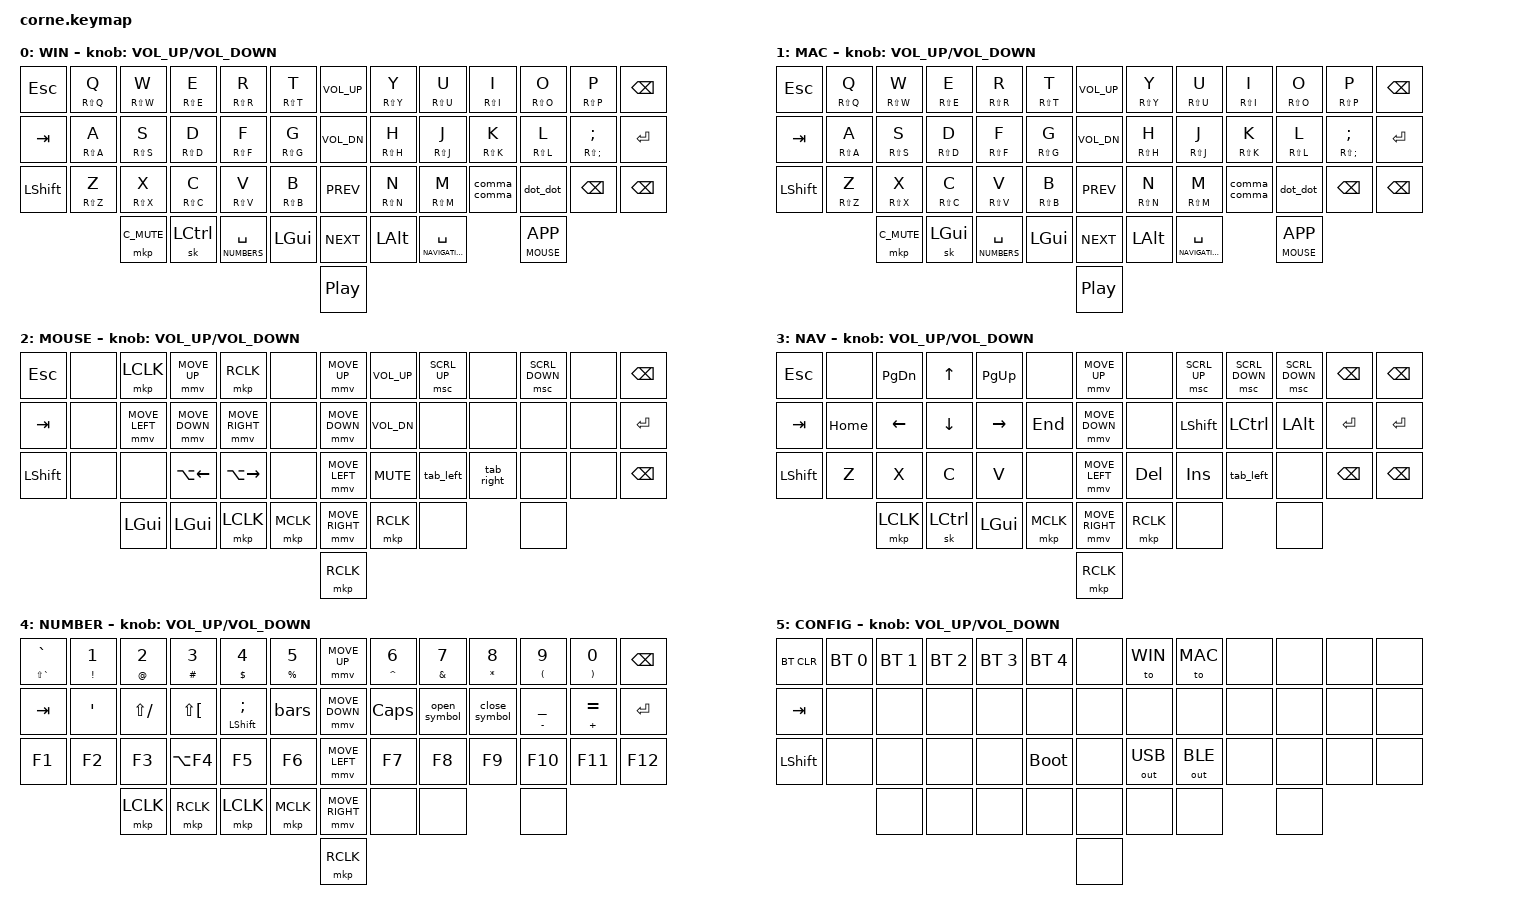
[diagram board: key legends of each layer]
#include <behaviors/mouse_keys.dtsi>
#include <behaviors.dtsi>
#include <dt-bindings/zmk/bt.h>
#include <dt-bindings/zmk/keys.h>
#include <dt-bindings/zmk/mouse.h>
#include <dt-bindings/zmk/outputs.h>

#define ZMK_MOUSE_DEFAULT_MOVE_VAL 1200
#define ZMK_MOUSE_DEFAULT_SCRL_VAL 20

#define WIN 0
#define MAC 1
#define MOUSE 2
#define NAVIGATION 3
#define NUMBERS 4
#define CONFIG 5

&mmv {
	time-to-max-speed-ms = <500>;
};

&mt {
	tapping-term-ms = <300>;
	flavor = "tap-preferred";
};

/ {
    combos {
        compatible = "zmk,combos";
        combo_config {
            timeout-ms = <50>;
            key-positions = <14 15 16 17>; // A, S, D, F positions
            bindings = <&mo CONFIG>;
            layers = <WIN MAC>;
        };
    };

    behaviors {
        mmv {
            acceleration-exponent = <1>;
            time-to-max-speed-ms = <900>;
            delay-ms = <0>;
        };

        msc {
            acceleration-exponent = <1>;
            time-to-max-speed-ms = <400>;
            delay-ms = <0>;
        };

        open_symbol: td_open {
            compatible = "zmk,behavior-tap-dance";
            label = "TD_OPEN";
            #binding-cells = <0>;
            tapping-term-ms = <200>;
            bindings = <&kp RS(RIGHT_BRACKET)>, <&kp RS(NUMBER_9)>, <&kp RIGHT_BRACKET>, <&kp LT>;
        };

        close_symbol: td_close {
            compatible = "zmk,behavior-tap-dance";
            label = "TD_CLOSE";
            #binding-cells = <0>;
            tapping-term-ms = <200>;
            bindings = <&kp RS(BACKSLASH)>, <&kp RS(NUMBER_0)>, <&kp BACKSLASH>, <&kp GT>;
        };

        dot_dot: dot_dot {
            compatible = "zmk,behavior-tap-dance";
            label = "DOT_DOT";
            #binding-cells = <0>;
            tapping-term-ms = <200>;
            bindings = <&kp PERIOD>, <&kp LS(SLASH)>;
        };

        comma_comma: comma_comma {
            compatible = "zmk,behavior-tap-dance";
            label = "COMMA_COMMA";
            #binding-cells = <0>;
            tapping-term-ms = <200>;
            bindings = <&kp COMMA>, <&kp SLASH>;
        };

        bars: bars {
            compatible = "zmk,behavior-tap-dance";
            label = "BARS";
            #binding-cells = <0>;
            tapping-term-ms = <200>;
            bindings = <&kp KP_SLASH>, <&kp LS(NON_US_BSLH)>, <&kp NON_US_BACKSLASH>;
        };

        // Conditional behavior for tab navigation
        tab_left: tab_left {
            compatible = "zmk,behavior-mod-morph";
            label = "TAB_LEFT";
            #binding-cells = <0>;
            bindings = <&kp LC(PAGE_UP)>, <&kp LG(LA(LEFT))>;
            mods = <(MOD_LGUI)>;
        };

        tab_right: tab_right {
            compatible = "zmk,behavior-mod-morph";
            label = "TAB_RIGHT";
            #binding-cells = <0>;
            bindings = <&kp LC(PAGE_DOWN)>, <&kp LG(LA(RIGHT))>;
            mods = <(MOD_LGUI)>;
        };
    };

    scroll_encoder: scroll_encoder {
        compatible = "zmk,behavior-sensor-rotate";
        #sensor-binding-cells = <0>;
        bindings = <&msc SCRL_DOWN>, <&msc SCRL_UP>;
        tap-ms = <30>;
    };

    keymap {
        compatible = "zmk,keymap";

        win_layer {
            display-name = "WIN";

            /* WIN
               QWERTY layout with mod-tap for uppercase letters
               ╭─────────────────────────────────────────╮    ╭──────╮╭─────────────────────────────────────────╮
               | ESC  |  Q   |  W   |  E   |   R  |   T  |    |VOL UP||  Y   |  U   |  I   |  O   |  P   | BKSP |
               | TAB  |  A   |  S   |  D   |   F  |   G  |    |VOL DN||  H   |  J   |  K   |  L   |  ;   | ENT  |
               |SHIFT |  Z   |  X   |  C   |   V  |   B  |    |PREV  ||  N   |  M   |  ,/  |  .?  | BKSP | BKSP |
               ╰────────────────────╮ MUTE |LCTRL | NUM  |    |NEXT  || LALT | NAV  | MENU ╭────────────────────╯
                                    ╰────────────────────╯    |PLAY  |╰────────────────────╯
                                                              ╰──────╯
            */
            bindings = <
                &kp ESC             &mt RS(Q) Q         &mt RS(W) W           &mt RS(E) E        &mt RS(R) R        &mt RS(T) T          &kp C_VOL_UP                &mt RS(Y) Y             &mt RS(U) U     &mt RS(I) I         &mt RS(O) O         &mt RS(P) P         &kp BSPC
                &kp TAB             &mt RS(A) A         &mt RS(S) S           &mt RS(D) D        &mt RS(F) F        &mt RS(G) G          &kp C_VOL_DN                &mt RS(H) H             &mt RS(J) J     &mt RS(K) K         &mt RS(L) L         &mt RS(SEMI) SEMI   &kp RETURN
                &kp LSHIFT          &mt RS(Z) Z         &mt RS(X) X           &mt RS(C) C        &mt RS(V) V        &mt RS(B) B          &kp C_PREV                  &mt RS(N) N             &mt RS(M) M     &comma_comma        &dot_dot            &kp BSPC            &kp BSPC
                                                        &mkp C_MUTE           &sk LEFT_CONTROL   &lt NUMBERS SPACE  &kp LEFT_GUI         &kp C_NEXT                  &kp LALT                &lt NAVIGATION SPACE                &lt MOUSE K_APP
                                                                                                                                         &kp C_PP
            >;

            label = "WIN";
            sensor-bindings = <&inc_dec_kp C_VOLUME_UP C_VOLUME_DOWN>;
        };

        mac_layer {
            display-name = "MAC";

            /* MAC
               QWERTY layout with mod-tap for uppercase letters (Mac version)
               ╭─────────────────────────────────────────╮    ╭──────╮╭─────────────────────────────────────────╮
               | ESC  |  Q   |  W   |  E   |   R  |   T  |    |VOL UP||  Y   |  U   |  I   |  O   |  P   | BKSP |
               | TAB  |  A   |  S   |  D   |   F  |   G  |    |VOL DN||  H   |  J   |  K   |  L   |  ;   | ENT  |
               |SHIFT |  Z   |  X   |  C   |   V  |   B  |    |PREV  ||  N   |  M   |  ,/  |  .?  | BKSP | BKSP |
               ╰────────────────────╮ MUTE |LCMD  | NUM  |    |NEXT  || LALT | NAV  | MENU ╭────────────────────╯
                                    ╰────────────────────╯    |PLAY  |╰────────────────────╯
                                                              ╰──────╯
            */
            bindings = <
                &kp ESC             &mt RS(Q) Q         &mt RS(W) W           &mt RS(E) E        &mt RS(R) R        &mt RS(T) T          &kp C_VOL_UP                &mt RS(Y) Y             &mt RS(U) U     &mt RS(I) I         &mt RS(O) O         &mt RS(P) P         &kp BSPC
                &kp TAB             &mt RS(A) A         &mt RS(S) S           &mt RS(D) D        &mt RS(F) F        &mt RS(G) G          &kp C_VOL_DN                &mt RS(H) H             &mt RS(J) J     &mt RS(K) K         &mt RS(L) L         &mt RS(SEMI) SEMI   &kp RETURN
                &kp LSHIFT          &mt RS(Z) Z         &mt RS(X) X           &mt RS(C) C        &mt RS(V) V        &mt RS(B) B          &kp C_PREV                  &mt RS(N) N             &mt RS(M) M     &comma_comma        &dot_dot            &kp BSPC            &kp BSPC
                                                        &mkp C_MUTE           &sk LGUI           &lt NUMBERS SPACE  &kp LEFT_GUI         &kp C_NEXT                  &kp LALT                &lt NAVIGATION SPACE                &lt MOUSE K_APP
                                                                                                                                         &kp C_PP
            >;

            label = "MAC";
            sensor-bindings = <&inc_dec_kp C_VOLUME_UP C_VOLUME_DOWN>;
        };

        mouse_layer {
            display-name = "MOUSE";

           /* MOUSE
               Mouse movement and media controls
               ╭─────────────────────────────────────────╮    ╭──────╮╭─────────────────────────────────────────╮
               | ESC  |      |LCLK  | M_UP |RCLK  |      |    | M_UP ||VOL_UP|SCR_UP|      |SCR_DN|      | BKSP |
               | TAB  |      | M_L  | M_DN | M_R  |      |    | M_DN ||VOL_DN|      |      |      |      | ENT  |
               |SHIFT |      |      |AL_LFT|AL_RGT|      |    | M_L  || MUTE |TAB_LF|TAB_RT|      |      | BKSP |
               ╰────────────────────╮ GUI  | GUI  |LCLK  |    | M_R  ||RCLK  |      |      ╭────────────────────╯
                                    ╰────────────────────╯    |RCLK  |╰────────────────────╯
                                                              ╰──────╯
            */
            bindings = <
                &kp ESC             &none               &mkp LCLK             &mmv MOVE_UP        &mkp RCLK          &none                &mmv MOVE_UP                 &kp C_VOL_UP            &msc SCRL_UP         &none                     &msc SCRL_DOWN           &none            &kp BSPC
                &kp TAB             &none               &mmv MOVE_LEFT        &mmv MOVE_DOWN      &mmv MOVE_RIGHT    &none                &mmv MOVE_DOWN               &kp C_VOL_DN            &none                &none                     &none                    &none            &kp RETURN
                &kp LSHIFT          &none               &none                 &kp LA(LEFT)        &kp LA(RIGHT)      &none                &mmv MOVE_LEFT               &kp C_MUTE              &tab_left            &tab_right                &none                    &none            &kp BSPC
                                                        &kp LEFT_GUI          &kp LEFT_GUI        &mkp LCLK          &mkp MCLK            &mmv MOVE_RIGHT              &mkp RCLK               &none                &none
                                                                                                                                          &mkp RCLK
            >;

            label = "MOUSE";
            sensor-bindings = <&inc_dec_kp C_VOLUME_UP C_VOLUME_DOWN>;
        };

        navigation_layer {
            display-name = "NAV";

           /* NAVIGATION
               Arrow keys, page navigation, and basic editing
               ╭─────────────────────────────────────────╮    ╭──────╮╭─────────────────────────────────────────╮
               | ESC  |      |PGDN  |  UP  |PGUP  |      |    | M_UP ||      |SCR_UP|SCR_DN|SCR_DN| BKSP | BKSP |
               | TAB  | HOME | LEFT | DOWN |RIGHT | END  |    | M_DN ||      |SHIFT |CTRL  |  ALT | ENT  | ENT  |
               |SHIFT |  Z   |  X   |  C   |  V   |      |    | M_L  || DEL  | INS  |TAB_LF|      | BKSP | BKSP |
               ╰────────────────────╮LCLK  |LCTRL | GUI  |    | M_R  ||RCLK  |      |      ╭────────────────────╯
                                    ╰────────────────────╯    |RCLK  |╰────────────────────╯
                                                              ╰──────╯
            */
            bindings = <
                &kp ESC             &none               &kp PAGE_DOWN         &kp UP              &kp PAGE_UP        &none                &mmv MOVE_UP                 &none                   &msc SCRL_UP         &msc SCRL_DOWN            &msc SCRL_DOWN           &kp BSPC         &kp BSPC
                &kp TAB             &kp HOME            &kp LEFT              &kp DOWN            &kp RIGHT          &kp END              &mmv MOVE_DOWN               &none                   &kp LEFT_SHIFT       &kp LEFT_CONTROL          &kp LALT                 &kp RETURN       &kp RETURN
                &kp LSHIFT          &kp Z               &kp X                 &kp C               &kp V              &none                &mmv MOVE_LEFT               &kp DEL                 &kp INSERT           &tab_left                 &none                    &kp BSPC         &kp BSPC
                                                        &mkp LCLK             &sk LEFT_CONTROL    &kp LEFT_GUI       &mkp MCLK            &mmv MOVE_RIGHT              &mkp RCLK               &none                &none
                                                                                                                                          &mkp RCLK
            >;

            label = "NAV";
            sensor-bindings = <&inc_dec_kp C_VOLUME_UP C_VOLUME_DOWN>;
        };

        numbers_layer {
            display-name = "NUMBER";

           /* NUMBER
               Numbers, symbols, and function keys
               ╭─────────────────────────────────────────╮    ╭──────╮╭─────────────────────────────────────────╮
               |  `~  |  1!  |  2@  |  3#  |  4$  |  5%  |    | M_UP ||  6^  |  7&  |  8*  |  9(  |  0)  | BKSP |
               | TAB  |  '   |  ?   |  `   |  ç   |  |\  |    | M_DN || CAPS | [{(< | ]}>  | -_   | +=   | ENT  |
               |  F1  |  F2  |  F3  | F4   |  F5  |  F6  |    | M_L  ||  F7  |  F8  |  F9  | F10  | F11  | F12  |
               ╰────────────────────╮LCLK  |RCLK  |LCLK  |    | M_R  ||      |      |      ╭────────────────────╯
                                    ╰────────────────────╯    |RCLK  |╰────────────────────╯
                                                              ╰──────╯
            */
            bindings = <
                &mt LS(GRAVE) GRAVE         &mt EXCLAMATION NUMBER_1                &mt AT_SIGN NUMBER_2  &mt HASH NUMBER_3      &mt DOLLAR NUMBER_4      &mt PERCENT NUMBER_5                  &mmv MOVE_UP                 &mt CARET NUMBER_6      &mt AMPERSAND NUMBER_7   &mt ASTERISK NUMBER_8     &mt LEFT_PARENTHESIS NUMBER_9    &mt RIGHT_PARENTHESIS NUMBER_0             &kp BSPC
                &kp TAB                     &kp SINGLE_QUOTE                        &kp LS(SLASH)         &kp LS(LEFT_BRACKET)   &mt LEFT_SHIFT SEMICOLON &bars                                 &mmv MOVE_DOWN               &kp CAPS                &open_symbol             &close_symbol             &mt MINUS UNDER                  &mt PLUS EQUAL                             &kp RETURN
                &kp F1                      &kp F2                                  &kp F3                &kp LA(F4)             &kp F5                   &kp F6                                &mmv MOVE_LEFT               &kp F7                  &kp F8                   &kp F9                    &kp F10                          &kp F11                                    &kp F12
                                                                                    &mkp LCLK             &mkp RCLK              &mkp LCLK                &mkp MCLK                             &mmv MOVE_RIGHT              &none                   &none                    &none
                                                                                                                                                                          &mkp RCLK
            >;

            label = "NUMBER";
            sensor-bindings = <&inc_dec_kp C_VOLUME_UP C_VOLUME_DOWN>;
        };

        config_layer {
            display-name = "CONFIG";

           /* CONFIG
               Bluetooth, output, and system configuration
               ╭─────────────────────────────────────────╮    ╭──────╮╭─────────────────────────────────────────╮
               |BTCLR | BT1  | BT2  | BT3  | BT4  | BT5  |    |      || WIN  | MAC  |      |      |      |      |
               | TAB  |      |      |      |      |      |    |      ||      |      |      |      |      |      |
               |SHIFT |      |      |      |      |BOOT  |    |      || USB  | BLE  |      |      |      |      |
               ╰────────────────────╮      |      |      |    |      ||      |      |      ╭────────────────────╯
                                    ╰────────────────────╯    |      |╰────────────────────╯
                                                              ╰──────╯
            */
            bindings = <
                &bt BT_CLR          &bt BT_SEL 0        &bt BT_SEL 1          &bt BT_SEL 2       &bt BT_SEL 3       &bt BT_SEL 4         &none                       &to WIN                 &to MAC             &none                     &none                    &none            &none
             // Clear all BT      // Profile 0:        // Profile 1:          // Profile 2:     // Profile 3:     // Profile 4:
             // connections       // Work Laptop       // Personal PC         // Tablet         // Phone          // Other devices
                &kp TAB             &none               &none                 &none              &none              &none                &none                       &none                   &none               &none                     &none                    &none            &none
                &kp LSHIFT          &none               &none                 &none              &none              &bootloader          &none                       &out OUT_USB            &out OUT_BLE        &none                     &none                    &none            &none
             //                                                                                  // Flash firmware
                                                        &none                 &none              &none              &none                &none                       &none                   &none               &none
                                                                                                                                          &none
            >;

            label = "CONFIG";
            sensor-bindings = <&inc_dec_kp C_VOLUME_UP C_VOLUME_DOWN>;
        };
    };
};
